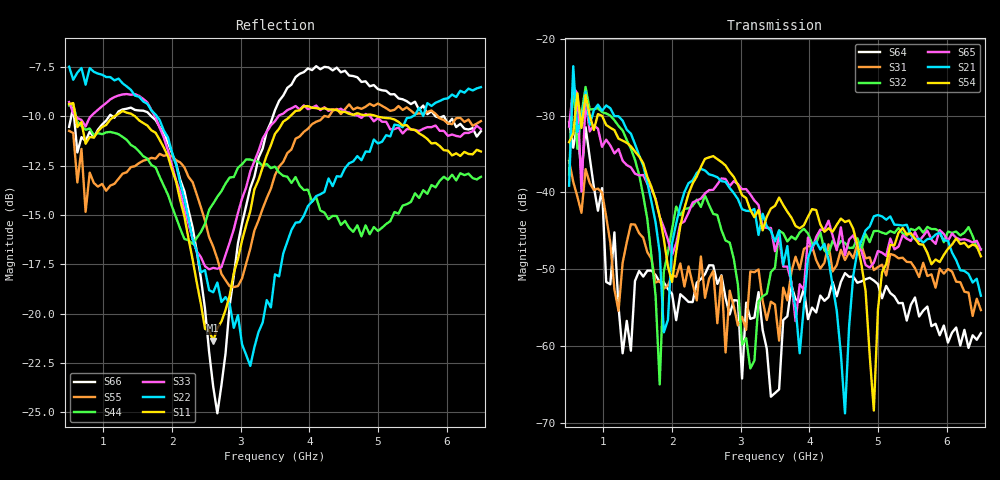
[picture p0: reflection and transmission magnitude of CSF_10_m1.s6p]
!Keysight Technologies,M9804A,MY58100912,A.14.10.03
!Date: Thursday, April 27, 2023 10:28:33
!Correction: S11(C  6-Port  )
!S12(C  6-Port  )
!S13(C  6-Port  )
!S14(C  6-Port  )
!S15(C  6-Port  )
!S16(C  6-Port  )
!S21(C  6-Port  )
!S22(C  6-Port  )
!S23(C  6-Port  )
!S24(C  6-Port  )
!S25(C  6-Port  )
!S26(C  6-Port  )
!S31(C  6-Port  )
!S32(C  6-Port  )
!S33(C  6-Port  )
!S34(C  6-Port  )
!S35(C  6-Port  )
!S36(C  6-Port  )
!S41(C  6-Port  )
!S42(C  6-Port  )
!S43(C  6-Port  )
!S44(C  6-Port  )
!S45(C  6-Port  )
!S46(C  6-Port  )
!S51(C  6-Port  )
!S52(C  6-Port  )
!S53(C  6-Port  )
!S54(C  6-Port  )
!S55(C  6-Port  )
!S56(C  6-Port  )
!S61(C  6-Port  )
!S62(C  6-Port  )
!S63(C  6-Port  )
!S64(C  6-Port  )
!S65(C  6-Port  )
!S66(C  6-Port  )
!S6P File: Measurement: :
# Hz S  RI  R 50
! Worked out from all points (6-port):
!   101 points, 500 MHz to 6.5 GHz, reference 50 ohm
!   strongest paths, dB at 500 MHz, 2 GHz, 3.5 GHz, 5 GHz, 6.5 GHz:
!     S54: -33.4, -51.7, -41.8, -55.3, -48.3
!     S21: -39.1, -46.6, -46.4, -42.9, -53.4
!     S65: -31.4, -48.1, -47.7, -47.6, -47.5
!     S32: -37.7, -44.8, -49.8, -45.0, -47.4
!     S31: -35.9, -50.8, -54.6, -49.7, -55.3
!     S64: -30.9, -53.2, -66.1, -51.9, -58.3
!   lowest |S11| = -21.4 dB at 2.6 GHz (marker M1), VSWR 1.19, Z = 42.5 + j2.3 ohm
!   |S11| at or under -10 dB: 593.4 MHz to 1.155 GHz (561.9 MHz wide, 64.3 % of centre); 1.463 GHz to 3.718 GHz (2.255 GHz wide, 87 % of centre); 4.988 GHz to end of sweep
